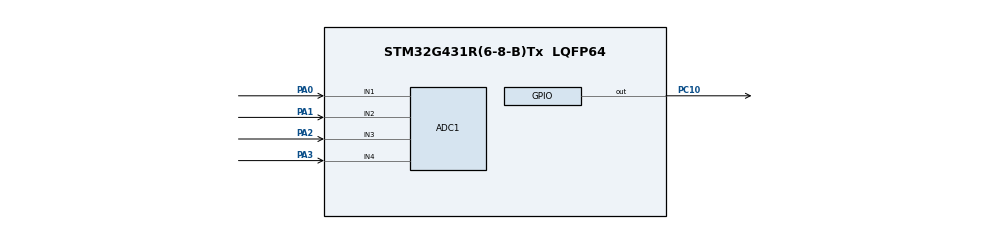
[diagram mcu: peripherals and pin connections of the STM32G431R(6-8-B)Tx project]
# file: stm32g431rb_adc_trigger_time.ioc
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ADC1.Channel-0\#ChannelRegularConversion=ADC_CHANNEL_1
ADC1.Channel-1\#ChannelRegularConversion=ADC_CHANNEL_2
ADC1.Channel-2\#ChannelRegularConversion=ADC_CHANNEL_3
ADC1.Channel-3\#ChannelRegularConversion=ADC_CHANNEL_4
ADC1.DMAContinuousRequests=ENABLE
ADC1.EOCSelection=ADC_EOC_SEQ_CONV
ADC1.ExternalTrigConv=ADC_EXTERNALTRIG_T8_TRGO2
ADC1.NbrOfConversion=4
ADC1.NbrOfConversionFlag=1
ADC1.OffsetNumber-0\#ChannelRegularConversion=ADC_OFFSET_NONE
ADC1.OffsetNumber-1\#ChannelRegularConversion=ADC_OFFSET_NONE
ADC1.OffsetNumber-2\#ChannelRegularConversion=ADC_OFFSET_NONE
ADC1.OffsetNumber-3\#ChannelRegularConversion=ADC_OFFSET_NONE
ADC1.Rank-0\#ChannelRegularConversion=1
ADC1.Rank-1\#ChannelRegularConversion=2
ADC1.Rank-2\#ChannelRegularConversion=3
ADC1.Rank-3\#ChannelRegularConversion=4
ADC1.SamplingTime-0\#ChannelRegularConversion=ADC_SAMPLETIME_2CYCLES_5
ADC1.SamplingTime-1\#ChannelRegularConversion=ADC_SAMPLETIME_2CYCLES_5
ADC1.SamplingTime-2\#ChannelRegularConversion=ADC_SAMPLETIME_2CYCLES_5
ADC1.SamplingTime-3\#ChannelRegularConversion=ADC_SAMPLETIME_2CYCLES_5
ADC1.master=1
Dma.ADC1.0.Direction=DMA_PERIPH_TO_MEMORY
Dma.ADC1.0.EventEnable=DISABLE
Dma.ADC1.0.Instance=DMA1_Channel1
Dma.ADC1.0.MemDataAlignment=DMA_MDATAALIGN_HALFWORD
Dma.ADC1.0.MemInc=DMA_MINC_ENABLE
Dma.ADC1.0.Mode=DMA_CIRCULAR
Dma.ADC1.0.PeriphDataAlignment=DMA_PDATAALIGN_HALFWORD
Dma.ADC1.0.PeriphInc=DMA_PINC_DISABLE
Dma.ADC1.0.Polarity=HAL_DMAMUX_REQ_GEN_RISING
Dma.ADC1.0.Priority=DMA_PRIORITY_LOW
Dma.ADC1.0.RequestNumber=1
Dma.ADC1.0.SignalID=NONE
Dma.ADC1.0.SyncEnable=DISABLE
Dma.ADC1.0.SyncPolarity=HAL_DMAMUX_SYNC_NO_EVENT
Dma.ADC1.0.SyncRequestNumber=1
Dma.ADC1.0.SyncSignalID=NONE
Dma.Request0=ADC1
Mcu.Family=STM32G4
Mcu.Name=STM32G431R(6-8-B)Tx
Mcu.Package=LQFP64
NVIC.DMA1_Channel1_IRQn=true\:0\:0\:false\:false\:true\:false\:true\:true
NVIC.PriorityGroup=NVIC_PRIORITYGROUP_4
NVIC.TIM8_CC_IRQn=true\:0\:0\:false\:false\:true\:true\:true\:true
PA0.Mode=IN1-Single-Ended
PA0.Signal=ADC1_IN1
PA1.Mode=IN2-Single-Ended
PA1.Signal=ADC1_IN2
PA2.Mode=IN3-Single-Ended
PA2.Signal=ADC1_IN3
PA3.Mode=IN4-Single-Ended
PA3.Signal=ADC1_IN4
PC10.Signal=GPIO_Output
ProjectManager.HeapSize=0x200
ProjectManager.StackSize=0x400
ProjectManager.TargetToolchain=STM32CubeIDE
RCC.AHBFreq_Value=16000000
RCC.APB1Freq_Value=16000000
RCC.APB1TimFreq_Value=16000000
RCC.APB2Freq_Value=16000000
RCC.APB2TimFreq_Value=16000000
RCC.CortexFreq_Value=16000000
RCC.EXTERNAL_CLOCK_VALUE=12288000
RCC.HCLKFreq_Value=16000000
RCC.HSE_VALUE=8000000
RCC.HSI48_VALUE=48000000
RCC.HSI_VALUE=16000000
RCC.LSE_VALUE=32768
RCC.SYSCLKFreq_VALUE=16000000
RCC.USBFreq_Value=64000000
RCC.VCOOutputFreq_Value=128000000
TIM8.Channel-PWM\ Generation4\ No\ Output=TIM_CHANNEL_4
TIM8.OCMode_PWM-PWM\ Generation4\ No\ Output=TIM_OCMODE_PWM2
TIM8.PeriodNoDither=1000
TIM8.PulseNoDither_4=500
TIM8.TIM_MasterOutputTrigger2=TIM_TRGO2_OC4REF
VP_SYS_VS_DBSignals.Mode=DisableDeadBatterySignals
VP_TIM8_VS_no_output4.Mode=PWM Generation4 No Output
board=custom

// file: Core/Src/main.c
/* USER CODE BEGIN Header */
/**
  ******************************************************************************
  * @file           : main.c
  * @brief          : Main program body
  ******************************************************************************
  * @attention
  *
  * Copyright (c) 2023 STMicroelectronics.
  * All rights reserved.
  *
  * This software is licensed under terms that can be found in the LICENSE file
  * in the root directory of this software component.
  * If no LICENSE file comes with this software, it is provided AS-IS.
  *
  ******************************************************************************
  */
/* USER CODE END Header */
#include "main.h"

void SystemClock_Config(void);
static void MX_GPIO_Init(void);
static void MX_DMA_Init(void);
static void MX_TIM8_Init(void);
static void MX_ADC1_Init(void);
/* USER CODE BEGIN PFP */
static void Initialize_ADC(void);
static void Initialize_DMA_ADC(void);
static void Initialize_TIM8(void);
/* USER CODE END PFP */

/* USER CODE BEGIN 0 */
__IO uint16_t aADCxConvertedData[4];
/* USER CODE END 0 */

int main(void)
{

  /* MCU Configuration--------------------------------------------------------*/

  /* Reset of all peripherals, Initializes the Flash interface and the Systick. */
  LL_APB2_GRP1_EnableClock(LL_APB2_GRP1_PERIPH_SYSCFG);
  LL_APB1_GRP1_EnableClock(LL_APB1_GRP1_PERIPH_PWR);

  /* System interrupt init*/
  NVIC_SetPriorityGrouping(NVIC_PRIORITYGROUP_4);

  /* SysTick_IRQn interrupt configuration */
  NVIC_SetPriority(SysTick_IRQn, NVIC_EncodePriority(NVIC_GetPriorityGrouping(),15, 0));

  /** Disable the internal Pull-Up in Dead Battery pins of UCPD peripheral
  */
  LL_PWR_DisableUCPDDeadBattery();

  /* Configure the system clock */
  SystemClock_Config();

  /* Initialize all configured peripherals */
  MX_GPIO_Init();
  MX_DMA_Init();
  MX_TIM8_Init();
  MX_ADC1_Init();
  /* USER CODE BEGIN 2 */
  Initialize_DMA_ADC();
  Initialize_ADC();
  Initialize_TIM8();
  /* USER CODE END 2 */

  /* Infinite loop */
  while (1)
  {

  }
}

void SystemClock_Config(void)
{
  LL_FLASH_SetLatency(LL_FLASH_LATENCY_0);
  while(LL_FLASH_GetLatency() != LL_FLASH_LATENCY_0)
  {
  }
  LL_PWR_SetRegulVoltageScaling(LL_PWR_REGU_VOLTAGE_SCALE1);
  LL_RCC_HSI_Enable();
   /* Wait till HSI is ready */
  while(LL_RCC_HSI_IsReady() != 1)
  {
  }

  LL_RCC_HSI_SetCalibTrimming(64);
  LL_RCC_SetSysClkSource(LL_RCC_SYS_CLKSOURCE_HSI);
   /* Wait till System clock is ready */
  while(LL_RCC_GetSysClkSource() != LL_RCC_SYS_CLKSOURCE_STATUS_HSI)
  {
  }

  /* Set AHB prescaler*/
  LL_RCC_SetAHBPrescaler(LL_RCC_SYSCLK_DIV_1);
  LL_RCC_SetAPB1Prescaler(LL_RCC_APB1_DIV_1);
  LL_RCC_SetAPB2Prescaler(LL_RCC_APB2_DIV_1);

  LL_Init1msTick(16000000);

  LL_SetSystemCoreClock(16000000);
}

static void MX_ADC1_Init(void)
{

  LL_ADC_InitTypeDef ADC_InitStruct = {0};
  LL_ADC_REG_InitTypeDef ADC_REG_InitStruct = {0};
  LL_ADC_CommonInitTypeDef ADC_CommonInitStruct = {0};

  LL_GPIO_InitTypeDef GPIO_InitStruct = {0};

  LL_RCC_SetADCClockSource(LL_RCC_ADC12_CLKSOURCE_SYSCLK);

  /* Peripheral clock enable */
  LL_AHB2_GRP1_EnableClock(LL_AHB2_GRP1_PERIPH_ADC12);

  LL_AHB2_GRP1_EnableClock(LL_AHB2_GRP1_PERIPH_GPIOA);
  /**ADC1 GPIO Configuration
  PA0   ------> ADC1_IN1
  PA1   ------> ADC1_IN2
  PA2   ------> ADC1_IN3
  PA3   ------> ADC1_IN4
  */
  GPIO_InitStruct.Pin = LL_GPIO_PIN_0;
  GPIO_InitStruct.Mode = LL_GPIO_MODE_ANALOG;
  GPIO_InitStruct.Pull = LL_GPIO_PULL_NO;
  LL_GPIO_Init(GPIOA, &GPIO_InitStruct);

  GPIO_InitStruct.Pin = LL_GPIO_PIN_1;
  GPIO_InitStruct.Mode = LL_GPIO_MODE_ANALOG;
  GPIO_InitStruct.Pull = LL_GPIO_PULL_NO;
  LL_GPIO_Init(GPIOA, &GPIO_InitStruct);

  GPIO_InitStruct.Pin = LL_GPIO_PIN_2;
  GPIO_InitStruct.Mode = LL_GPIO_MODE_ANALOG;
  GPIO_InitStruct.Pull = LL_GPIO_PULL_NO;
  LL_GPIO_Init(GPIOA, &GPIO_InitStruct);

  GPIO_InitStruct.Pin = LL_GPIO_PIN_3;
  GPIO_InitStruct.Mode = LL_GPIO_MODE_ANALOG;
  GPIO_InitStruct.Pull = LL_GPIO_PULL_NO;
  LL_GPIO_Init(GPIOA, &GPIO_InitStruct);

  /* ADC1 DMA Init */

  /* ADC1 Init */
  LL_DMA_SetPeriphRequest(DMA1, LL_DMA_CHANNEL_1, LL_DMAMUX_REQ_ADC1);

  LL_DMA_SetDataTransferDirection(DMA1, LL_DMA_CHANNEL_1, LL_DMA_DIRECTION_PERIPH_TO_MEMORY);

  LL_DMA_SetChannelPriorityLevel(DMA1, LL_DMA_CHANNEL_1, LL_DMA_PRIORITY_LOW);

  LL_DMA_SetMode(DMA1, LL_DMA_CHANNEL_1, LL_DMA_MODE_CIRCULAR);

  LL_DMA_SetPeriphIncMode(DMA1, LL_DMA_CHANNEL_1, LL_DMA_PERIPH_NOINCREMENT);

  LL_DMA_SetMemoryIncMode(DMA1, LL_DMA_CHANNEL_1, LL_DMA_MEMORY_INCREMENT);

  LL_DMA_SetPeriphSize(DMA1, LL_DMA_CHANNEL_1, LL_DMA_PDATAALIGN_HALFWORD);

  LL_DMA_SetMemorySize(DMA1, LL_DMA_CHANNEL_1, LL_DMA_MDATAALIGN_HALFWORD);

  /** Common config
  */
  ADC_InitStruct.Resolution = LL_ADC_RESOLUTION_12B;
  ADC_InitStruct.DataAlignment = LL_ADC_DATA_ALIGN_RIGHT;
  ADC_InitStruct.LowPowerMode = LL_ADC_LP_MODE_NONE;
  LL_ADC_Init(ADC1, &ADC_InitStruct);
  ADC_REG_InitStruct.TriggerSource = LL_ADC_REG_TRIG_EXT_TIM8_TRGO2;
  ADC_REG_InitStruct.SequencerLength = LL_ADC_REG_SEQ_SCAN_ENABLE_4RANKS;
  ADC_REG_InitStruct.SequencerDiscont = LL_ADC_REG_SEQ_DISCONT_DISABLE;
  ADC_REG_InitStruct.ContinuousMode = LL_ADC_REG_CONV_SINGLE;
  ADC_REG_InitStruct.DMATransfer = LL_ADC_REG_DMA_TRANSFER_UNLIMITED;
  ADC_REG_InitStruct.Overrun = LL_ADC_REG_OVR_DATA_PRESERVED;
  LL_ADC_REG_Init(ADC1, &ADC_REG_InitStruct);
  LL_ADC_SetGainCompensation(ADC1, 0);
  LL_ADC_SetOverSamplingScope(ADC1, LL_ADC_OVS_DISABLE);
  ADC_CommonInitStruct.CommonClock = LL_ADC_CLOCK_SYNC_PCLK_DIV2;
  ADC_CommonInitStruct.Multimode = LL_ADC_MULTI_INDEPENDENT;
  LL_ADC_CommonInit(__LL_ADC_COMMON_INSTANCE(ADC1), &ADC_CommonInitStruct);
  LL_ADC_REG_SetTriggerEdge(ADC1, LL_ADC_REG_TRIG_EXT_RISING);

  /* Disable ADC deep power down (enabled by default after reset state) */
  LL_ADC_DisableDeepPowerDown(ADC1);
  /* Enable ADC internal voltage regulator */
  LL_ADC_EnableInternalRegulator(ADC1);
  /* Delay for ADC internal voltage regulator stabilization. */
  /* Compute number of CPU cycles to wait for, from delay in us. */
  /* Note: Variable divided by 2 to compensate partially */
  /* CPU processing cycles (depends on compilation optimization). */
  /* Note: If system core clock frequency is below 200kHz, wait time */
  /* is only a few CPU processing cycles. */
  uint32_t wait_loop_index;
  wait_loop_index = ((LL_ADC_DELAY_INTERNAL_REGUL_STAB_US * (SystemCoreClock / (100000 * 2))) / 10);
  while(wait_loop_index != 0)
  {
    wait_loop_index--;
  }

  /** Configure Regular Channel
  */
  LL_ADC_REG_SetSequencerRanks(ADC1, LL_ADC_REG_RANK_1, LL_ADC_CHANNEL_1);
  LL_ADC_SetChannelSamplingTime(ADC1, LL_ADC_CHANNEL_1, LL_ADC_SAMPLINGTIME_2CYCLES_5);
  LL_ADC_SetChannelSingleDiff(ADC1, LL_ADC_CHANNEL_1, LL_ADC_SINGLE_ENDED);

  /** Configure Regular Channel
  */
  LL_ADC_REG_SetSequencerRanks(ADC1, LL_ADC_REG_RANK_2, LL_ADC_CHANNEL_2);
  LL_ADC_SetChannelSamplingTime(ADC1, LL_ADC_CHANNEL_2, LL_ADC_SAMPLINGTIME_2CYCLES_5);
  LL_ADC_SetChannelSingleDiff(ADC1, LL_ADC_CHANNEL_2, LL_ADC_SINGLE_ENDED);

  /** Configure Regular Channel
  */
  LL_ADC_REG_SetSequencerRanks(ADC1, LL_ADC_REG_RANK_3, LL_ADC_CHANNEL_3);
  LL_ADC_SetChannelSamplingTime(ADC1, LL_ADC_CHANNEL_3, LL_ADC_SAMPLINGTIME_2CYCLES_5);
  LL_ADC_SetChannelSingleDiff(ADC1, LL_ADC_CHANNEL_3, LL_ADC_SINGLE_ENDED);

  /** Configure Regular Channel
  */
  LL_ADC_REG_SetSequencerRanks(ADC1, LL_ADC_REG_RANK_4, LL_ADC_CHANNEL_4);
  LL_ADC_SetChannelSamplingTime(ADC1, LL_ADC_CHANNEL_4, LL_ADC_SAMPLINGTIME_2CYCLES_5);
  LL_ADC_SetChannelSingleDiff(ADC1, LL_ADC_CHANNEL_4, LL_ADC_SINGLE_ENDED);

}

static void MX_TIM8_Init(void)
{

  LL_TIM_InitTypeDef TIM_InitStruct = {0};
  LL_TIM_OC_InitTypeDef TIM_OC_InitStruct = {0};
  LL_TIM_BDTR_InitTypeDef TIM_BDTRInitStruct = {0};

  /* Peripheral clock enable */
  LL_APB2_GRP1_EnableClock(LL_APB2_GRP1_PERIPH_TIM8);

  /* TIM8 interrupt Init */
  NVIC_SetPriority(TIM8_CC_IRQn, NVIC_EncodePriority(NVIC_GetPriorityGrouping(),0, 0));
  NVIC_EnableIRQ(TIM8_CC_IRQn);

  TIM_InitStruct.Prescaler = 0;
  TIM_InitStruct.CounterMode = LL_TIM_COUNTERMODE_UP;
  TIM_InitStruct.Autoreload = 1000;
  TIM_InitStruct.ClockDivision = LL_TIM_CLOCKDIVISION_DIV1;
  TIM_InitStruct.RepetitionCounter = 0;
  LL_TIM_Init(TIM8, &TIM_InitStruct);
  LL_TIM_DisableARRPreload(TIM8);
  LL_TIM_OC_EnablePreload(TIM8, LL_TIM_CHANNEL_CH4);
  TIM_OC_InitStruct.OCMode = LL_TIM_OCMODE_PWM2;
  TIM_OC_InitStruct.OCState = LL_TIM_OCSTATE_DISABLE;
  TIM_OC_InitStruct.OCNState = LL_TIM_OCSTATE_DISABLE;
  TIM_OC_InitStruct.CompareValue = 500;
  TIM_OC_InitStruct.OCPolarity = LL_TIM_OCPOLARITY_HIGH;
  TIM_OC_InitStruct.OCNPolarity = LL_TIM_OCPOLARITY_HIGH;
  TIM_OC_InitStruct.OCIdleState = LL_TIM_OCIDLESTATE_LOW;
  TIM_OC_InitStruct.OCNIdleState = LL_TIM_OCIDLESTATE_LOW;
  LL_TIM_OC_Init(TIM8, LL_TIM_CHANNEL_CH4, &TIM_OC_InitStruct);
  LL_TIM_OC_DisableFast(TIM8, LL_TIM_CHANNEL_CH4);
  LL_TIM_SetTriggerOutput(TIM8, LL_TIM_TRGO_RESET);
  LL_TIM_SetTriggerOutput2(TIM8, LL_TIM_TRGO2_OC4);
  LL_TIM_DisableMasterSlaveMode(TIM8);
  TIM_BDTRInitStruct.OSSRState = LL_TIM_OSSR_DISABLE;
  TIM_BDTRInitStruct.OSSIState = LL_TIM_OSSI_DISABLE;
  TIM_BDTRInitStruct.LockLevel = LL_TIM_LOCKLEVEL_OFF;
  TIM_BDTRInitStruct.DeadTime = 0;
  TIM_BDTRInitStruct.BreakState = LL_TIM_BREAK_DISABLE;
  TIM_BDTRInitStruct.BreakPolarity = LL_TIM_BREAK_POLARITY_HIGH;
  TIM_BDTRInitStruct.BreakFilter = LL_TIM_BREAK_FILTER_FDIV1;
  TIM_BDTRInitStruct.BreakAFMode = LL_TIM_BREAK_AFMODE_INPUT;
  TIM_BDTRInitStruct.Break2State = LL_TIM_BREAK2_DISABLE;
  TIM_BDTRInitStruct.Break2Polarity = LL_TIM_BREAK2_POLARITY_HIGH;
  TIM_BDTRInitStruct.Break2Filter = LL_TIM_BREAK2_FILTER_FDIV1;
  TIM_BDTRInitStruct.Break2AFMode = LL_TIM_BREAK_AFMODE_INPUT;
  TIM_BDTRInitStruct.AutomaticOutput = LL_TIM_AUTOMATICOUTPUT_DISABLE;
  LL_TIM_BDTR_Init(TIM8, &TIM_BDTRInitStruct);

}

static void MX_DMA_Init(void)
{

  /* Init with LL driver */
  /* DMA controller clock enable */
  LL_AHB1_GRP1_EnableClock(LL_AHB1_GRP1_PERIPH_DMAMUX1);
  LL_AHB1_GRP1_EnableClock(LL_AHB1_GRP1_PERIPH_DMA1);

  /* DMA interrupt init */
  /* DMA1_Channel1_IRQn interrupt configuration */
  NVIC_SetPriority(DMA1_Channel1_IRQn, NVIC_EncodePriority(NVIC_GetPriorityGrouping(),0, 0));
  NVIC_EnableIRQ(DMA1_Channel1_IRQn);

}

static void MX_GPIO_Init(void)
{
  LL_GPIO_InitTypeDef GPIO_InitStruct = {0};

  /* GPIO Ports Clock Enable */
  LL_AHB2_GRP1_EnableClock(LL_AHB2_GRP1_PERIPH_GPIOA);
  LL_AHB2_GRP1_EnableClock(LL_AHB2_GRP1_PERIPH_GPIOC);

  /**/
  LL_GPIO_ResetOutputPin(GPIOC, LL_GPIO_PIN_10);

  /**/
  GPIO_InitStruct.Pin = LL_GPIO_PIN_10;
  GPIO_InitStruct.Mode = LL_GPIO_MODE_OUTPUT;
  GPIO_InitStruct.Speed = LL_GPIO_SPEED_FREQ_LOW;
  GPIO_InitStruct.OutputType = LL_GPIO_OUTPUT_PUSHPULL;
  GPIO_InitStruct.Pull = LL_GPIO_PULL_NO;
  LL_GPIO_Init(GPIOC, &GPIO_InitStruct);

}

/* USER CODE BEGIN 4 */
#define ADC_DELAY_CALIB_ENABLE_CPU_CYCLES  (LL_ADC_DELAY_CALIB_ENABLE_ADC_CYCLES * 32)
static void Initialize_ADC(void)
{
  __IO uint32_t wait_loop_index = 0U;
  #if (USE_TIMEOUT == 1)
  uint32_t Timeout = 0U; /* Variable used for timeout management */
  #endif /* USE_TIMEOUT */

  /*## Operation on ADC hierarchical scope: ADC instance #####################*/

  /* Note: Hardware constraint (refer to description of the functions         */
  /*       below):                                                            */
  /*       On this STM32 serie, setting of these features is conditioned to   */
  /*       ADC state:                                                         */
  /*       ADC must be disabled.                                              */
  /* Note: In this example, all these checks are not necessary but are        */
  /*       implemented anyway to show the best practice usages                */
  /*       corresponding to reference manual procedure.                       */
  /*       Software can be optimized by removing some of these checks, if     */
  /*       they are not relevant considering previous settings and actions    */
  /*       in user application.                                               */
  if (LL_ADC_IsEnabled(ADC1) == 0)
  {
    /* Disable ADC deep power down (enabled by default after reset state) */
    LL_ADC_DisableDeepPowerDown(ADC1);

    /* Enable ADC internal voltage regulator */
    LL_ADC_EnableInternalRegulator(ADC1);

    /* Delay for ADC internal voltage regulator stabilization.                */
    /* Compute number of CPU cycles to wait for, from delay in us.            */
    /* Note: Variable divided by 2 to compensate partially                    */
    /*       CPU processing cycles (depends on compilation optimization).     */
    /* Note: If system core clock frequency is below 200kHz, wait time        */
    /*       is only a few CPU processing cycles.                             */
    wait_loop_index = ((LL_ADC_DELAY_INTERNAL_REGUL_STAB_US * (SystemCoreClock / (100000 * 2))) / 10);
    while(wait_loop_index != 0)
    {
      wait_loop_index--;
    }

    /* Run ADC self calibration */
    LL_ADC_StartCalibration(ADC1, LL_ADC_SINGLE_ENDED);

    /* Poll for ADC effectively calibrated */
    #if (USE_TIMEOUT == 1)
    Timeout = ADC_CALIBRATION_TIMEOUT_MS;
    #endif /* USE_TIMEOUT */

    while (LL_ADC_IsCalibrationOnGoing(ADC1) != 0)
    {
    #if (USE_TIMEOUT == 1)
      /* Check Systick counter flag to decrement the time-out value */
      if (LL_SYSTICK_IsActiveCounterFlag())
      {
        if(Timeout-- == 0)
        {
        /* Time-out occurred. Set LED to blinking mode */
        LED_Blinking(LED_BLINK_ERROR);
        }
      }
    #endif /* USE_TIMEOUT */
    }

    /* Delay between ADC end of calibration and ADC enable.                   */
    /* Note: Variable divided by 2 to compensate partially                    */
    /*       CPU processing cycles (depends on compilation optimization).     */
    wait_loop_index = (ADC_DELAY_CALIB_ENABLE_CPU_CYCLES >> 1);
    while(wait_loop_index != 0)
    {
      wait_loop_index--;
    }

    /* Enable ADC */
    LL_ADC_Enable(ADC1);

    /* Poll for ADC ready to convert */
    #if (USE_TIMEOUT == 1)
    Timeout = ADC_ENABLE_TIMEOUT_MS;
    #endif /* USE_TIMEOUT */

    while (LL_ADC_IsActiveFlag_ADRDY(ADC1) == 0)
    {
    #if (USE_TIMEOUT == 1)
      /* Check Systick counter flag to decrement the time-out value */
      if (LL_SYSTICK_IsActiveCounterFlag())
      {
        if(Timeout-- == 0)
        {
        /* Time-out occurred. Set LED to blinking mode */
        LED_Blinking(LED_BLINK_ERROR);
        }
      }
    #endif /* USE_TIMEOUT */
    }

    /* Note: ADC flag ADRDY is not cleared here to be able to check ADC       */
    /*       status afterwards.                                               */
    /*       This flag should be cleared at ADC Deactivation, before a new    */
    /*       ADC activation, using function "LL_ADC_ClearFlag_ADRDY()".       */
  }

  /*## Operation on ADC hierarchical scope: ADC group regular ################*/
  /* Note: No operation on ADC group regular performed here.                  */
  /*       ADC group regular conversions to be performed after this function  */
  /*       using function:                                                    */
  /*       "LL_ADC_REG_StartConversion();"                                    */

  /*## Operation on ADC hierarchical scope: ADC group injected ###############*/
  /* Note: No operation on ADC group injected performed here.                 */
  /*       ADC group injected conversions to be performed after this function */
  /*       using function:                                                    */
  /*       "LL_ADC_INJ_StartConversion();"                                    */

  if ((LL_ADC_IsEnabled(ADC1) == 1) &&(LL_ADC_IsDisableOngoing(ADC1) == 0)&&(LL_ADC_REG_IsConversionOngoing(ADC1) == 0))
  {
    LL_ADC_REG_StartConversion(ADC1);
  }
}

static void Initialize_DMA_ADC(void)
{
  /* Select ADC as DMA transfer request */
  LL_DMA_SetPeriphRequest(DMA1,  LL_DMA_CHANNEL_1, LL_DMAMUX_REQ_ADC1);

  /* Set DMA transfer addresses of source and destination */
  LL_DMA_ConfigAddresses(DMA1,
                         LL_DMA_CHANNEL_1,
                         LL_ADC_DMA_GetRegAddr(ADC1, LL_ADC_DMA_REG_REGULAR_DATA),
                         (uint32_t)&aADCxConvertedData[0],
                         LL_DMA_DIRECTION_PERIPH_TO_MEMORY);

  /* Set DMA transfer size */
  LL_DMA_SetDataLength(DMA1, LL_DMA_CHANNEL_1, 4);

  /* Enable DMA transfer interruption: transfer complete */
  LL_DMA_EnableIT_TC(DMA1, LL_DMA_CHANNEL_1);

  /* Enable DMA transfer interruption: half transfer */
  //LL_DMA_EnableIT_HT(DMA1, LL_DMA_CHANNEL_2);

  /* Enable DMA transfer interruption: transfer error */
  LL_DMA_EnableIT_TE(DMA1, LL_DMA_CHANNEL_1);

  /*## Activation of DMA #####################################################*/
  /* Enable the DMA transfer */
  LL_DMA_EnableChannel(DMA1, LL_DMA_CHANNEL_1);
}

static void Initialize_TIM8(void)
{
  LL_TIM_CC_EnableChannel(TIM8, LL_TIM_CHANNEL_CH4);
  LL_TIM_ClearFlag_UPDATE(TIM8);
  LL_TIM_EnableAutomaticOutput(TIM8);
  LL_TIM_EnableIT_CC4(TIM8);
  LL_TIM_SetCounter(TIM8, 0);
  LL_TIM_EnableCounter(TIM8);
}
/* USER CODE END 4 */

void Error_Handler(void)
{
  __disable_irq();
  while (1)
  {
  }
}
